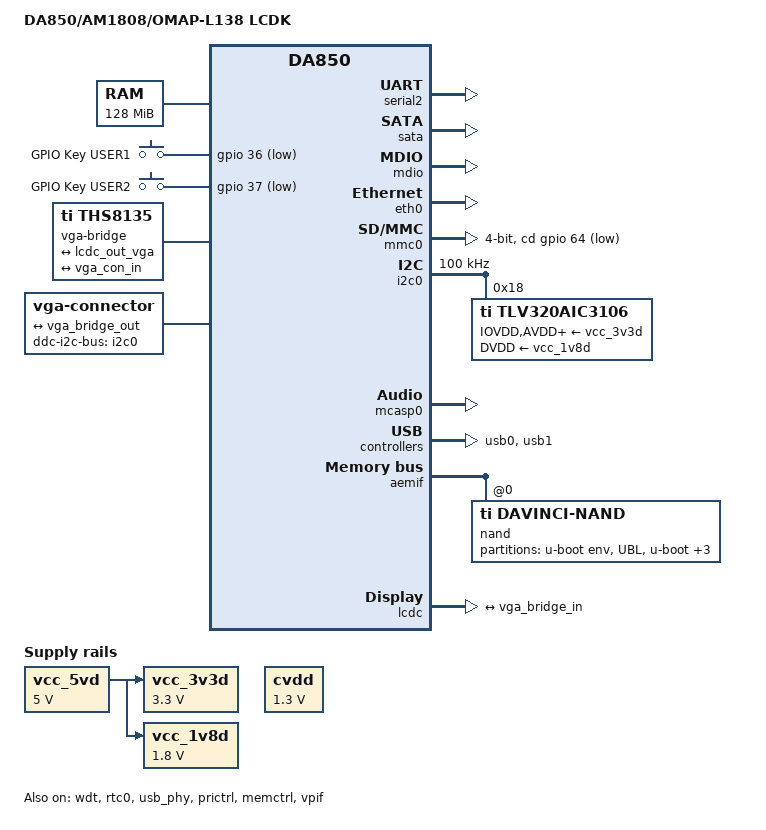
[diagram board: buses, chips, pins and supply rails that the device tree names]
// SPDX-License-Identifier: GPL-2.0-only
/*
 * Copyright (c) 2016 BayLibre, Inc.
 */
/dts-v1/;
#include "da850.dtsi"
#include <dt-bindings/gpio/gpio.h>
#include <dt-bindings/input/input.h>

/ {
	model = "DA850/AM1808/OMAP-L138 LCDK";
	compatible = "ti,da850-lcdk", "ti,da850";

	aliases {
		serial2 = &serial2;
		ethernet0 = &eth0;
	};

	chosen {
		stdout-path = "serial2:115200n8";
	};

	memory@c0000000 {
		/* 128 MB DDR2 SDRAM @ 0xc0000000 */
		reg = <0xc0000000 0x08000000>;
	};


	vcc_5vd: fixedregulator-vcc_5vd {
		compatible = "regulator-fixed";
		regulator-name = "vcc_5vd";
		regulator-min-microvolt = <5000000>;
		regulator-max-microvolt = <5000000>;
		regulator-boot-on;
	};

	vcc_3v3d: fixedregulator-vcc_3v3d {
		/* TPS650250 - VDCDC1 */
		compatible = "regulator-fixed";
		regulator-name = "vcc_3v3d";
		regulator-min-microvolt = <3300000>;
		regulator-max-microvolt = <3300000>;
		vin-supply = <&vcc_5vd>;
		regulator-always-on;
		regulator-boot-on;
	};

	vcc_1v8d: fixedregulator-vcc_1v8d {
		/* TPS650250 - VDCDC2 */
		compatible = "regulator-fixed";
		regulator-name = "vcc_1v8d";
		regulator-min-microvolt = <1800000>;
		regulator-max-microvolt = <1800000>;
		vin-supply = <&vcc_5vd>;
		regulator-always-on;
		regulator-boot-on;
	};

	sound {
		compatible = "simple-audio-card";
		simple-audio-card,name = "DA850-OMAPL138 LCDK";
		simple-audio-card,widgets =
			"Line", "Line In",
			"Line", "Line Out",
			"Microphone", "Mic Jack";
		simple-audio-card,routing =
			"LINE1L", "Line In",
			"LINE1R", "Line In",
			"Line Out", "LLOUT",
			"Line Out", "RLOUT",
			"MIC3L", "Mic Jack",
			"MIC3R", "Mic Jack",
			"Mic Jack", "Mic Bias";
		simple-audio-card,format = "dsp_b";
		simple-audio-card,bitclock-master = <&link0_codec>;
		simple-audio-card,frame-master = <&link0_codec>;
		simple-audio-card,bitclock-inversion;

		simple-audio-card,cpu {
			sound-dai = <&mcasp0>;
			system-clock-frequency = <24576000>;
		};

		link0_codec: simple-audio-card,codec {
			sound-dai = <&tlv320aic3106>;
			system-clock-frequency = <24576000>;
		};
	};

	gpio-keys {
		compatible = "gpio-keys";
		autorepeat;

		user1 {
			label = "GPIO Key USER1";
			linux,code = <BTN_0>;
			gpios = <&gpio 36 GPIO_ACTIVE_LOW>;
		};

		user2 {
			label = "GPIO Key USER2";
			linux,code = <BTN_1>;
			gpios = <&gpio 37 GPIO_ACTIVE_LOW>;
		};
	};

	vga-bridge {
		compatible = "ti,ths8135";
		#address-cells = <1>;
		#size-cells = <0>;

		ports {
			#address-cells = <1>;
			#size-cells = <0>;

			port@0 {
				reg = <0>;

				vga_bridge_in: endpoint {
					remote-endpoint = <&lcdc_out_vga>;
				};
			};

			port@1 {
				reg = <1>;

				vga_bridge_out: endpoint {
					remote-endpoint = <&vga_con_in>;
				};
			};
		};
	};

	vga {
		compatible = "vga-connector";

		ddc-i2c-bus = <&i2c0>;

		port {
			vga_con_in: endpoint {
				remote-endpoint = <&vga_bridge_out>;
			};
		};
	};

	cvdd: regulator0 {
		compatible = "regulator-fixed";
		regulator-name = "cvdd";
		regulator-min-microvolt = <1300000>;
		regulator-max-microvolt = <1300000>;
		regulator-always-on;
		regulator-boot-on;
	};
};

&ref_clk {
	clock-frequency = <24000000>;
};

&cpu {
	cpu-supply = <&cvdd>;
};

/*
 * LCDK has a fixed CVDD of 1.3V, so only operating points >= 300MHz are
 * valid. Unfortunately due to a problem with the DA8XX OHCI controller, we
 * can't enable more than one OPP by default, since the controller sometimes
 * becomes unresponsive after a transition. Fix the frequency at 456 MHz.
 */

&opp_100 {
	status = "disabled";
};

&opp_200 {
	status = "disabled";
};

&opp_300 {
	status = "disabled";
};

&opp_456 {
	status = "okay";
};

&pmx_core {
	status = "okay";

	mcasp0_pins: pinmux_mcasp0_pins {
		pinctrl-single,bits = <
			/*
			 * AHCLKX, ACLKX, AFSX, AHCLKR, ACLKR,
			 * AFSR, AMUTE
			 */
			0x00 0x11111111 0xffffffff
			/* AXR11, AXR12 */
			0x04 0x00011000 0x000ff000
		>;
	};
	nand_pins: nand_pins {
		pinctrl-single,bits = <
			/* EMA_WAIT[0], EMA_OE, EMA_WE, EMA_CS[4], EMA_CS[3] */
			0x1c 0x10110110  0xf0ff0ff0
			/*
			 * EMA_D[0], EMA_D[1], EMA_D[2],
			 * EMA_D[3], EMA_D[4], EMA_D[5],
			 * EMA_D[6], EMA_D[7]
			 */
			0x24 0x11111111  0xffffffff
			/* EMA_A[1], EMA_A[2] */
			0x30 0x01100000  0x0ff00000
		>;
	};
};

&serial2 {
	pinctrl-names = "default";
	pinctrl-0 = <&serial2_rxtx_pins>;
	status = "okay";
};

&wdt {
	status = "okay";
};

&rtc0 {
	status = "okay";
};

&gpio {
	status = "okay";
};

&sata_refclk {
	status = "okay";
	clock-frequency = <100000000>;
};

&sata {
	status = "okay";
};

&mdio {
	compatible = "davicom,dm9000";
	pinctrl-names = "default";
	pinctrl-0 = <&mdio_pins>;
	bus_freq = <2200000>;
	status = "okay";
};

&eth0 {
        phy_id = "davinci_mdio-0:00";
        mac-address = [00 04 9F 01 1B B8];
	pinctrl-names = "default";
	pinctrl-0 = <&mii_pins>;
	status = "okay";
};

&mmc0 {
	max-frequency = <50000000>;
	bus-width = <4>;
	pinctrl-names = "default";
	pinctrl-0 = <&mmc0_pins>;
	cd-gpios = <&gpio 64 GPIO_ACTIVE_LOW>;
	status = "okay";
};

&i2c0 {
	pinctrl-names = "default";
	pinctrl-0 = <&i2c0_pins>;
	clock-frequency = <100000>;
	status = "okay";

	tlv320aic3106: tlv320aic3106@18 {
		#sound-dai-cells = <0>;
		compatible = "ti,tlv320aic3106";
		reg = <0x18>;
		adc-settle-ms = <40>;
		ai3x-micbias-vg = <1>;		/* 2.0V */
		status = "okay";

		/* Regulators */
		IOVDD-supply = <&vcc_3v3d>;
		AVDD-supply = <&vcc_3v3d>;
		DRVDD-supply = <&vcc_3v3d>;
		DVDD-supply = <&vcc_1v8d>;
	};
};

&mcasp0 {
	#sound-dai-cells = <0>;
	pinctrl-names = "default";
	pinctrl-0 = <&mcasp0_pins>;
	status = "okay";

	op-mode = <0>;   /* DAVINCI_MCASP_IIS_MODE */
	tdm-slots = <2>;
	serial-dir = <   /* 0: INACTIVE, 1: TX, 2: RX */
		0 0 0 0
		0 0 0 0
		0 0 0 0
		0 1 2 0
	>;
	tx-num-evt = <32>;
	rx-num-evt = <32>;
};

&usb_phy {
	status = "okay";
};

&usb0 {
	status = "okay";
};

&usb1 {
	status = "okay";
};

&aemif {
	pinctrl-names = "default";
	pinctrl-0 = <&nand_pins>;
	status = "ok";
	cs3 {
		#address-cells = <2>;
		#size-cells = <1>;
		clock-ranges;
		ranges;

		ti,cs-chipselect = <3>;

		nand@2000000,0 {
			compatible = "ti,davinci-nand";
			#address-cells = <1>;
			#size-cells = <1>;
			reg = <0 0x02000000 0x02000000
			       1 0x00000000 0x00008000>;

			ti,davinci-chipselect = <1>;
			ti,davinci-mask-ale = <0>;
			ti,davinci-mask-cle = <0>;
			ti,davinci-mask-chipsel = <0>;
			ti,davinci-ecc-mode = "hw";
			ti,davinci-ecc-bits = <4>;
			ti,davinci-nand-use-bbt;
			
			partitions {
				compatible = "fixed-partitions";
				#address-cells = <1>;
				#size-cells = <1>;

				partition@0 {
					label = "u-boot env";
					reg = <0 0x020000>;
				};
				partition@1 {
					/* The LCDK defaults to booting from this partition */
					label = "UBL";
					reg = <0x020000 0x020000>;
				};
				partition@2 {
					label = "u-boot";
					reg = <0x040000 0x080000>;
				};
				partition@3 {
					/* The LCDK defaults to booting from this partition */
					label = "Kernel";
					reg = <0x0200000 0x400000>;
				};
				partition@4 {
					label = "Device Tree";
					reg = <0x1300000 0x100000>;
				};
				partition@5 {
					label = "rootfs";
					reg = <0x1400000 0x6C00000>; 
				};
	
	
			};

		};
	};
};

&prictrl {
	status = "okay";
};

&memctrl {
	status = "okay";
};

&lcdc {
	status = "okay";
	pinctrl-names = "default";
	pinctrl-0 = <&lcd_pins>;

	port {
		lcdc_out_vga: endpoint {
			remote-endpoint = <&vga_bridge_in>;
		};
	};
};

&vpif {
	pinctrl-names = "default";
	pinctrl-0 = <&vpif_capture_pins>;
	status = "okay";
};

